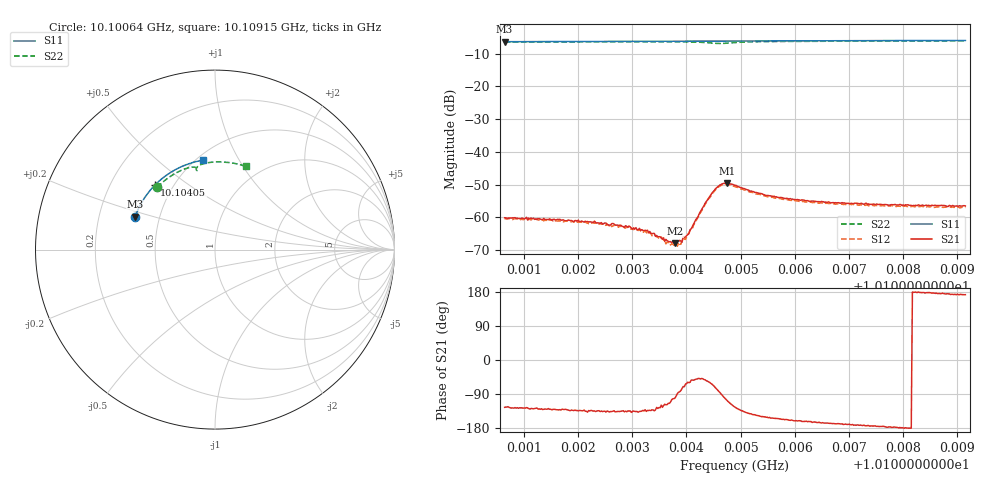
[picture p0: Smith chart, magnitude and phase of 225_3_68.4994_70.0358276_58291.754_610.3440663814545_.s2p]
#  HZ  S  RI  R  50.00
! Rohde & Schwarz Vector Network Analyzer
! Rohde-Schwarz,ZNB20-2Port,1311601062101988,3.16
! Created: UTC 3/20/2024, 4:58:43 PM
! freq[Hz]  re:S11  im:S11  re:S21  im:S21  re:S12  im:S12  re:S22  im:S22
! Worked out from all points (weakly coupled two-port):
!   401 points, 10.10064 GHz to 10.10915 GHz, reference 50 ohm
!   highest |S21| = -49.56 dB at 10.10475 GHz (marker M1); lowest = -67.9 dB at 10.10379 GHz (marker M2)
!   lowest |S11| = -6.4 dB at 10.10064 GHz (marker M3), VSWR 2.85, Z = 18.1 + j8.64 ohm
!   |S11| at or under -10 dB: nowhere
!   |S22| runs from -6.9 to -6.1 dB; largest |S21 - S12| = 0.00032
!   S11 on the Smith chart (normalised r, x): 10.10064 GHz: 0.36, +0.17; 10.10405 GHz: 0.40, +0.37; 10.10915 GHz: 0.54, +0.72
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1.0100644e10  -0.4445 0.1831  -0.000565 -0.00081  -0.000468 -0.000824  -0.3221 0.3469
1.0101665e10  -0.4201 0.2406  -0.000613 -0.000706  -0.000528 -0.000703  -0.2727 0.3907
1.0102069e10  -0.4084 0.2621  -0.000612 -0.000634  -0.000526 -0.000659  -0.2513 0.4061
1.010243e10  -0.3969 0.281  -0.000585 -0.000592  -0.000515 -0.000593  -0.2313 0.4189
1.0102919e10  -0.3804 0.3055  -0.000496 -0.000507  -0.000457 -0.000538  -0.2029 0.4347
1.010328e10  -0.3672 0.3229  -0.000436 -0.000466  -0.00035 -0.000447  -0.1808 0.4449
1.0103493e10  -0.3589 0.3331  -0.000295 -0.000414  -0.00024 -0.000402  -0.1671 0.4502
1.0103557e10  -0.3566 0.336  -0.000267 -0.000381  -0.000252 -0.000409  -0.1629 0.4519
1.0103663e10  -0.3521 0.3407  -0.000179 -0.000392  -0.000139 -0.000388  -0.1556 0.4543
1.0103791e10  -0.347 0.3465  -7.12e-05 -0.000397  -4.19e-05 -0.000392  -0.1466 0.4568
1.0103854e10  -0.3445 0.3494  3.74e-05 -0.000427  3.98e-05 -0.000414  -0.142 0.4577
1.0103939e10  -0.3409 0.3533  0.000172 -0.000472  0.00017 -0.000409  -0.1355 0.459
1.0104046e10  -0.3363 0.3578  0.000282 -0.000487  0.000334 -0.00048  -0.1273 0.4599
1.0104343e10  -0.3236 0.3705  0.001 -0.0013  0.00108 -0.00116  -0.1031 0.4555
1.0104492e10  -0.3171 0.3766  0.00097 -0.00225  0.00112 -0.00212  -0.0963 0.4465
1.010462e10  -0.3112 0.3816  0.000211 -0.00312  0.000432 -0.00298  -0.0992 0.4406
1.0104747e10  -0.3056 0.3869  -0.000952 -0.00319  -0.000659 -0.00314  -0.1044 0.4446
1.0104896e10  -0.2988 0.3927  -0.00175 -0.00255  -0.00146 -0.00256  -0.1024 0.4552
1.0105491e10  -0.2702 0.4147  -0.00189 -0.00106  -0.00173 -0.00112  -0.0637 0.4786
1.010632e10  -0.2278 0.4417  -0.00171 -0.000465  -0.00156 -0.000613  -0.00764 0.4876
1.0107745e10  -0.1494 0.4771  -0.00153 -9.33e-05  -0.00148 -0.000229  0.0849 0.4841
1.0109148e10  -0.0672 0.4979  -0.00148 0.000198  -0.00142 5.87e-05  0.172 0.4637
